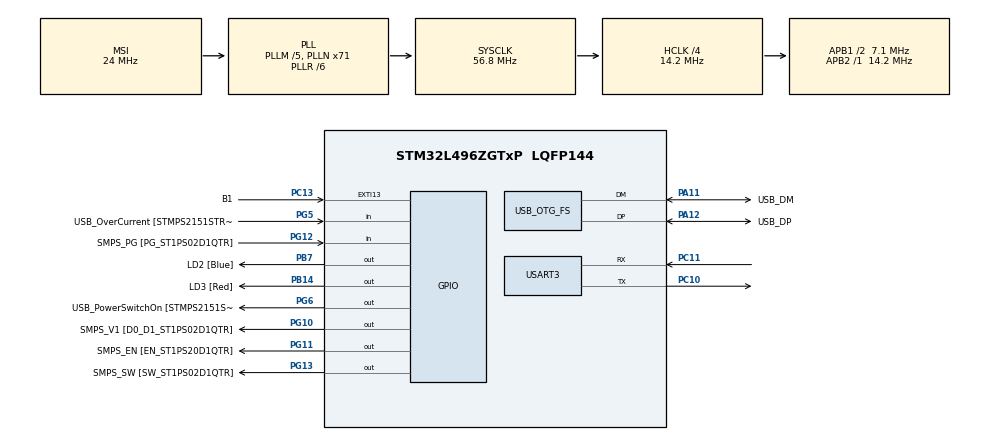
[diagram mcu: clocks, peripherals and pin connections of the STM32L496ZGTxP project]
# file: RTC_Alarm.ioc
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Mcu.Family=STM32L4
Mcu.Name=STM32L496ZGTxP
Mcu.Package=LQFP144
NVIC.EXTI15_10_IRQn=true\:0\:0\:false\:false\:true\:true\:true\:true
NVIC.OTG_FS_IRQn=true\:0\:0\:false\:false\:true\:true\:true\:true
NVIC.PriorityGroup=NVIC_PRIORITYGROUP_4
NVIC.RTC_Alarm_IRQn=true\:0\:0\:false\:false\:true\:true\:true\:true
NVIC.USART3_IRQn=true\:0\:0\:false\:false\:true\:true\:true\:true
PA10.GPIO_Label=USB_ID
PA10.Signal=USB_OTG_FS_ID
PA11.GPIO_Label=USB_DM
PA11.Mode=Host_Only
PA11.Signal=USB_OTG_FS_DM
PA12.GPIO_Label=USB_DP
PA12.Mode=Host_Only
PA12.Signal=USB_OTG_FS_DP
PA13\ (JTMS/SWDIO).GPIO_Label=TMS
PA13\ (JTMS/SWDIO).Mode=Trace_Asynchronous_SW
PA13\ (JTMS/SWDIO).Signal=SYS_JTMS-SWDIO
PA14\ (JTCK/SWCLK).GPIO_Label=TCK
PA14\ (JTCK/SWCLK).Mode=Trace_Asynchronous_SW
PA14\ (JTCK/SWCLK).Signal=SYS_JTCK-SWCLK
PA8.GPIO_Label=USB_SOF [TP1]
PA8.Signal=USB_OTG_FS_SOF
PA9.GPIO_Label=USB_VBUS
PA9.Signal=USB_OTG_FS_VBUS
PB14.GPIO_Label=LD3 [Red]
PB14.Signal=GPIO_Output
PB3\ (JTDO/TRACESWO).GPIO_Label=SWO
PB3\ (JTDO/TRACESWO).Mode=Trace_Asynchronous_SW
PB3\ (JTDO/TRACESWO).Signal=SYS_JTDO-SWO
PB7.GPIO_Label=LD2 [Blue]
PB7.Signal=GPIO_Output
PC10.Mode=Asynchronous
PC10.Signal=USART3_TX
PC11.Mode=Asynchronous
PC11.Signal=USART3_RX
PC13.GPIO_Label=B1
PC13.Signal=GPXTI13
PC14-OSC32_IN\ (PC14).Mode=LSE-External-Oscillator
PC14-OSC32_IN\ (PC14).Signal=RCC_OSC32_IN
PC15-OSC32_OUT\ (PC15).Mode=LSE-External-Oscillator
PC15-OSC32_OUT\ (PC15).Signal=RCC_OSC32_OUT
PG10.GPIO_Label=SMPS_V1 [D0_D1_ST1PS02D1QTR]
PG10.Signal=GPIO_Output
PG11.GPIO_Label=SMPS_EN [EN_ST1PS20D1QTR]
PG11.Signal=GPIO_Output
PG12.GPIO_Label=SMPS_PG [PG_ST1PS02D1QTR]
PG12.Signal=GPIO_Input
PG13.GPIO_Label=SMPS_SW [SW_ST1PS02D1QTR]
PG13.Signal=GPIO_Output
PG5.GPIO_Label=USB_OverCurrent [STMPS2151STR_FAULT]
PG5.Signal=GPIO_Input
PG6.GPIO_Label=USB_PowerSwitchOn [STMPS2151STR_EN]
PG6.Signal=GPIO_Output
PG7.GPIO_Label=STLK_RX [STM32F103CBT6_PA3]
PG7.Signal=LPUART1_TX
PG8.GPIO_Label=STLK_TX [STM32F103CBT6_PA2]
PG8.Signal=LPUART1_RX
PH0-OSC_IN\ (PH0).GPIO_Label=MCO
PH0-OSC_IN\ (PH0).Signal=RCC_OSC_IN
PH1-OSC_OUT\ (PH1).Signal=RCC_OSC_OUT
ProjectManager.HeapSize=0x200
ProjectManager.StackSize=0x400
ProjectManager.TargetToolchain=STM32CubeIDE
RCC.48MHZClocksFreq_Value=24000000
RCC.ADCFreq_Value=48000000
RCC.AHBCLKDivider=RCC_SYSCLK_DIV4
RCC.AHBFreq_Value=14200000
RCC.APB1CLKDivider=RCC_HCLK_DIV2
RCC.APB1Freq_Value=7100000
RCC.APB1TimFreq_Value=14200000
RCC.APB2Freq_Value=14200000
RCC.APB2TimFreq_Value=14200000
RCC.CortexFreq_Value=14200000
RCC.HCLKFreq_Value=14200000
RCC.HSE_VALUE=8000000
RCC.HSI48_VALUE=48000000
RCC.HSI_VALUE=16000000
RCC.MSIClockRange=RCC_MSIRANGE_9
RCC.MSI_VALUE=24000000
RCC.PLLM=5
RCC.PLLMUL=RCC_PLL_MUL9
RCC.PLLN=71
RCC.PLLR=RCC_PLLR_DIV6
RCC.PLLSAI1N=20
RCC.PRESCALERUSB=RCC_USBCLKSOURCE_PLL_DIV1_5
RCC.SYSCLKFreq_VALUE=56800000
RCC.SYSCLKSource=RCC_SYSCLKSOURCE_PLLCLK
RCC.SYSCLKSourceVirtual=RCC_SYSCLKSOURCE_PLLCLK
RCC.USBFreq_Value=48000000
RCC.VCOOutputFreq_Value=340800000
RTC.Alarm-Alarm\ A=RTC_ALARM_A
RTC.AlarmDateWeekDaySel-Alarm\ A=RTC_ALARMDATEWEEKDAYSEL_WEEKDAY
RTC.AlarmMaskDateWeekDay-Alarm\ A=RTC_ALARMMASK_DATEWEEKDAY
RTC.AlarmMaskHours-Alarm\ A=RTC_ALARMMASK_HOURS
RTC.AlarmSubSecondMask-Alarm\ A=RTC_ALARMSUBSECONDMASK_NONE
RTC.Date=17
RTC.Hours=16
RTC.Minutes=10
RTC.Minutes_A-Alarm\ A=45
RTC.Month=RTC_MONTH_AUGUST
RTC.Seconds=15
RTC.Seconds_A-Alarm\ A=9
RTC.WeekDay=RTC_WEEKDAY_FRIDAY
USART3.VirtualMode-Asynchronous=VM_ASYNC
USB_HOST.BSP.number=1
USB_HOST.USBH_HandleTypeDef=hUsbHostFS
USB_HOST.VirtualModeFS=Audio
USB_HOST0.BSP.STBoard=false
USB_HOST0.BSP.api=UnknownBspDriver
USB_HOST0.BSP.instance=PG6
USB_HOST0.BSP.ip=GPIO
USB_HOST0.BSP.mode=Output
USB_HOST0.BSP.name=Drive_VBUS_FS
USB_HOST0.BSP.solution=PG6
USB_OTG_FS.VirtualMode=Host_Only
USB_OTG_FS.phy_itface=HCD_PHY_EMBEDDED
VP_RTC_VS_RTC_Activate.Mode=RTC_Enabled
VP_RTC_VS_RTC_Alarm_A_Intern.Mode=Alarm A
VP_RTC_VS_RTC_Calendar.Mode=RTC_Calendar
VP_USB_HOST_VS_USB_HOST_AUDIO_FS.Mode=AUDIO_FS
board=NUCLEO-L496ZG-P

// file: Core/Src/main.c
/* USER CODE BEGIN Header */
/**
  ******************************************************************************
  * @file           : main.c
  * @brief          : Main program body
  ******************************************************************************
  * @attention
  *
  * Copyright (c) 2023 STMicroelectronics.
  * All rights reserved.
  *
  * This software is licensed under terms that can be found in the LICENSE file
  * in the root directory of this software component.
  * If no LICENSE file comes with this software, it is provided AS-IS.
  *
  ******************************************************************************
  */
/* USER CODE END Header */
#include "main.h"
#include "usb_host.h"

/* USER CODE BEGIN Includes */
#include <string.h>
#include <stdint.h>
#include <stdarg.h>
#include <stdio.h>
/* USER CODE END Includes */

RTC_HandleTypeDef hrtc;

UART_HandleTypeDef huart3;

void SystemClock_Config(void);
static void MX_GPIO_Init(void);
static void MX_RTC_Init(void);
static void MX_USART3_UART_Init(void);
void MX_USB_HOST_Process(void);

/* USER CODE BEGIN 0 */
void printmsg(char *format,...)
 {

	char str[80];

	/*Extract the the argument list using VA apis */
	va_list args;
	va_start(args, format);
	vsprintf(str, format,args);
	HAL_UART_Transmit(&huart3,(uint8_t *)str, strlen(str),HAL_MAX_DELAY);
	va_end(args);

 }
/* USER CODE END 0 */

int main(void)
{

  /* MCU Configuration--------------------------------------------------------*/

  /* Reset of all peripherals, Initializes the Flash interface and the Systick. */
  HAL_Init();

  /* Configure the system clock */
  SystemClock_Config();

  /* Initialize all configured peripherals */
  MX_GPIO_Init();
  MX_USB_HOST_Init();
  MX_RTC_Init();
  MX_USART3_UART_Init();
  /* USER CODE BEGIN 2 */
  printmsg("This is RTC Alarm Test Program\r\n");

  /* USER CODE END 2 */

  /* Infinite loop */
  while (1)
  {
    MX_USB_HOST_Process();

  }
}

void SystemClock_Config(void)
{
  RCC_OscInitTypeDef RCC_OscInitStruct = {0};
  RCC_ClkInitTypeDef RCC_ClkInitStruct = {0};

  /** Configure the main internal regulator output voltage
  */
  if (HAL_PWREx_ControlVoltageScaling(PWR_REGULATOR_VOLTAGE_SCALE1) != HAL_OK)
  {
    Error_Handler();
  }

  /** Configure LSE Drive Capability
  */
  HAL_PWR_EnableBkUpAccess();
  __HAL_RCC_LSEDRIVE_CONFIG(RCC_LSEDRIVE_LOW);

  /** Initializes the RCC Oscillators according to the specified parameters
  * in the RCC_OscInitTypeDef structure.
  */
  RCC_OscInitStruct.OscillatorType = RCC_OSCILLATORTYPE_LSI|RCC_OSCILLATORTYPE_LSE
                              |RCC_OSCILLATORTYPE_MSI;
  RCC_OscInitStruct.LSEState = RCC_LSE_ON;
  RCC_OscInitStruct.LSIState = RCC_LSI_ON;
  RCC_OscInitStruct.MSIState = RCC_MSI_ON;
  RCC_OscInitStruct.MSICalibrationValue = 0;
  RCC_OscInitStruct.MSIClockRange = RCC_MSIRANGE_9;
  RCC_OscInitStruct.PLL.PLLState = RCC_PLL_ON;
  RCC_OscInitStruct.PLL.PLLSource = RCC_PLLSOURCE_MSI;
  RCC_OscInitStruct.PLL.PLLM = 5;
  RCC_OscInitStruct.PLL.PLLN = 71;
  RCC_OscInitStruct.PLL.PLLP = RCC_PLLP_DIV2;
  RCC_OscInitStruct.PLL.PLLQ = RCC_PLLQ_DIV2;
  RCC_OscInitStruct.PLL.PLLR = RCC_PLLR_DIV6;
  if (HAL_RCC_OscConfig(&RCC_OscInitStruct) != HAL_OK)
  {
    Error_Handler();
  }

  /** Initializes the CPU, AHB and APB buses clocks
  */
  RCC_ClkInitStruct.ClockType = RCC_CLOCKTYPE_HCLK|RCC_CLOCKTYPE_SYSCLK
                              |RCC_CLOCKTYPE_PCLK1|RCC_CLOCKTYPE_PCLK2;
  RCC_ClkInitStruct.SYSCLKSource = RCC_SYSCLKSOURCE_PLLCLK;
  RCC_ClkInitStruct.AHBCLKDivider = RCC_SYSCLK_DIV4;
  RCC_ClkInitStruct.APB1CLKDivider = RCC_HCLK_DIV2;
  RCC_ClkInitStruct.APB2CLKDivider = RCC_HCLK_DIV1;

  if (HAL_RCC_ClockConfig(&RCC_ClkInitStruct, FLASH_LATENCY_0) != HAL_OK)
  {
    Error_Handler();
  }

  /** Enable MSI Auto calibration
  */
  HAL_RCCEx_EnableMSIPLLMode();
}

static void MX_RTC_Init(void)
{

  RTC_TimeTypeDef sTime = {0};
  RTC_DateTypeDef sDate = {0};
  RTC_AlarmTypeDef sAlarm = {0};

  /** Initialize RTC Only
  */
  hrtc.Instance = RTC;
  hrtc.Init.HourFormat = RTC_HOURFORMAT_24;
  hrtc.Init.AsynchPrediv = 127;
  hrtc.Init.SynchPrediv = 255;
  hrtc.Init.OutPut = RTC_OUTPUT_DISABLE;
  hrtc.Init.OutPutRemap = RTC_OUTPUT_REMAP_NONE;
  hrtc.Init.OutPutPolarity = RTC_OUTPUT_POLARITY_HIGH;
  hrtc.Init.OutPutType = RTC_OUTPUT_TYPE_OPENDRAIN;
  if (HAL_RTC_Init(&hrtc) != HAL_OK)
  {
    Error_Handler();
  }

  /** Initialize RTC and set the Time and Date
  */
  sTime.Hours = 0x16;
  sTime.Minutes = 0x10;
  sTime.Seconds = 0x15;
  sTime.DayLightSaving = RTC_DAYLIGHTSAVING_NONE;
  sTime.StoreOperation = RTC_STOREOPERATION_RESET;
  if (HAL_RTC_SetTime(&hrtc, &sTime, RTC_FORMAT_BCD) != HAL_OK)
  {
    Error_Handler();
  }
  sDate.WeekDay = RTC_WEEKDAY_FRIDAY;
  sDate.Month = RTC_MONTH_AUGUST;
  sDate.Date = 0x17;
  sDate.Year = 0x23;

  if (HAL_RTC_SetDate(&hrtc, &sDate, RTC_FORMAT_BCD) != HAL_OK)
  {
    Error_Handler();
  }

  /** Enable the Alarm A
  */
  sAlarm.AlarmTime.Hours = 0x0;
  sAlarm.AlarmTime.Minutes = 0x00;
  sAlarm.AlarmTime.Seconds = 0x15;
  sAlarm.AlarmTime.SubSeconds = 0x0;
  sAlarm.AlarmTime.DayLightSaving = RTC_DAYLIGHTSAVING_NONE;
  sAlarm.AlarmTime.StoreOperation = RTC_STOREOPERATION_RESET;
  sAlarm.AlarmMask = RTC_ALARMMASK_DATEWEEKDAY|RTC_ALARMMASK_HOURS |RTC_ALARMMASK_MINUTES;
  sAlarm.AlarmSubSecondMask = RTC_ALARMSUBSECONDMASK_NONE;
  sAlarm.AlarmDateWeekDaySel = RTC_ALARMDATEWEEKDAYSEL_WEEKDAY;
  sAlarm.AlarmDateWeekDay = 1;
  sAlarm.Alarm = RTC_ALARM_A;
  if (HAL_RTC_SetAlarm_IT(&hrtc, &sAlarm, RTC_FORMAT_BCD) != HAL_OK)
  {
    Error_Handler();
  }

}

static void MX_USART3_UART_Init(void)
{

  huart3.Instance = USART3;
  huart3.Init.BaudRate = 115200;
  huart3.Init.WordLength = UART_WORDLENGTH_8B;
  huart3.Init.StopBits = UART_STOPBITS_1;
  huart3.Init.Parity = UART_PARITY_NONE;
  huart3.Init.Mode = UART_MODE_TX_RX;
  huart3.Init.HwFlowCtl = UART_HWCONTROL_NONE;
  huart3.Init.OverSampling = UART_OVERSAMPLING_16;
  huart3.Init.OneBitSampling = UART_ONE_BIT_SAMPLE_DISABLE;
  huart3.AdvancedInit.AdvFeatureInit = UART_ADVFEATURE_NO_INIT;
  if (HAL_UART_Init(&huart3) != HAL_OK)
  {
    Error_Handler();
  }

}

static void MX_GPIO_Init(void)
{
  GPIO_InitTypeDef GPIO_InitStruct = {0};

  /* GPIO Ports Clock Enable */
  __HAL_RCC_GPIOC_CLK_ENABLE();
  __HAL_RCC_GPIOH_CLK_ENABLE();
  __HAL_RCC_GPIOB_CLK_ENABLE();
  __HAL_RCC_GPIOG_CLK_ENABLE();
  HAL_PWREx_EnableVddIO2();
  __HAL_RCC_GPIOA_CLK_ENABLE();

  /*Configure GPIO pin Output Level */
  HAL_GPIO_WritePin(GPIOB, LD3_Pin|LD2_Pin, GPIO_PIN_RESET);

  /*Configure GPIO pin Output Level */
  HAL_GPIO_WritePin(GPIOG, USB_PowerSwitchOn_Pin|SMPS_V1_Pin|SMPS_EN_Pin|SMPS_SW_Pin, GPIO_PIN_RESET);

  /*Configure GPIO pin : B1_Pin */
  GPIO_InitStruct.Pin = B1_Pin;
  GPIO_InitStruct.Mode = GPIO_MODE_IT_RISING;
  GPIO_InitStruct.Pull = GPIO_NOPULL;
  HAL_GPIO_Init(B1_GPIO_Port, &GPIO_InitStruct);

  /*Configure GPIO pins : LD3_Pin LD2_Pin */
  GPIO_InitStruct.Pin = LD3_Pin|LD2_Pin;
  GPIO_InitStruct.Mode = GPIO_MODE_OUTPUT_PP;
  GPIO_InitStruct.Pull = GPIO_NOPULL;
  GPIO_InitStruct.Speed = GPIO_SPEED_FREQ_LOW;
  HAL_GPIO_Init(GPIOB, &GPIO_InitStruct);

  /*Configure GPIO pins : USB_OverCurrent_Pin SMPS_PG_Pin */
  GPIO_InitStruct.Pin = USB_OverCurrent_Pin|SMPS_PG_Pin;
  GPIO_InitStruct.Mode = GPIO_MODE_INPUT;
  GPIO_InitStruct.Pull = GPIO_NOPULL;
  HAL_GPIO_Init(GPIOG, &GPIO_InitStruct);

  /*Configure GPIO pins : USB_PowerSwitchOn_Pin SMPS_V1_Pin SMPS_EN_Pin SMPS_SW_Pin */
  GPIO_InitStruct.Pin = USB_PowerSwitchOn_Pin|SMPS_V1_Pin|SMPS_EN_Pin|SMPS_SW_Pin;
  GPIO_InitStruct.Mode = GPIO_MODE_OUTPUT_PP;
  GPIO_InitStruct.Pull = GPIO_NOPULL;
  GPIO_InitStruct.Speed = GPIO_SPEED_FREQ_LOW;
  HAL_GPIO_Init(GPIOG, &GPIO_InitStruct);

  /*Configure GPIO pins : STLK_RX_Pin STLK_TX_Pin */
  GPIO_InitStruct.Pin = STLK_RX_Pin|STLK_TX_Pin;
  GPIO_InitStruct.Mode = GPIO_MODE_AF_PP;
  GPIO_InitStruct.Pull = GPIO_NOPULL;
  GPIO_InitStruct.Speed = GPIO_SPEED_FREQ_VERY_HIGH;
  GPIO_InitStruct.Alternate = GPIO_AF8_LPUART1;
  HAL_GPIO_Init(GPIOG, &GPIO_InitStruct);

  /* EXTI interrupt init*/
  HAL_NVIC_SetPriority(EXTI15_10_IRQn, 0, 0);
  HAL_NVIC_EnableIRQ(EXTI15_10_IRQn);

}

/* USER CODE BEGIN 4 */

char* getDayofweek(uint8_t number){
	char *weekday[] = {"Monday","Tuesday","Wednesday","Thursday","Friday","Saturday","Sunday"};

	return weekday[number-1];
}
/**
  * @brief  Alarm A callback.
  * @param  hrtc RTC handle
  * @retval None
  */
void HAL_RTC_AlarmAEventCallback(RTC_HandleTypeDef *hrtc)
{
  printmsg("Alarm is Triggered\r\n");

    RTC_TimeTypeDef RTC_TimeRead;
  	RTC_DateTypeDef RTC_DateRead;

  	HAL_RTC_GetTime(hrtc, &RTC_TimeRead, RTC_FORMAT_BIN);
  	HAL_RTC_GetDate(hrtc, &RTC_DateRead, RTC_FORMAT_BIN);

  	printmsg("Current Time is : %02d-%2d-%2d\r\n",RTC_TimeRead.Hours,RTC_TimeRead.Minutes,RTC_TimeRead.Seconds);
  	printmsg("Current Date is : %02d-%2d-%2d  <%s>\r\n",RTC_DateRead.Month,RTC_DateRead.Date,
  				RTC_DateRead.Year,getDayofweek(RTC_DateRead.WeekDay));
}
/* USER CODE END 4 */

void Error_Handler(void)
{
  __disable_irq();
  while (1)
  {
  }
}
